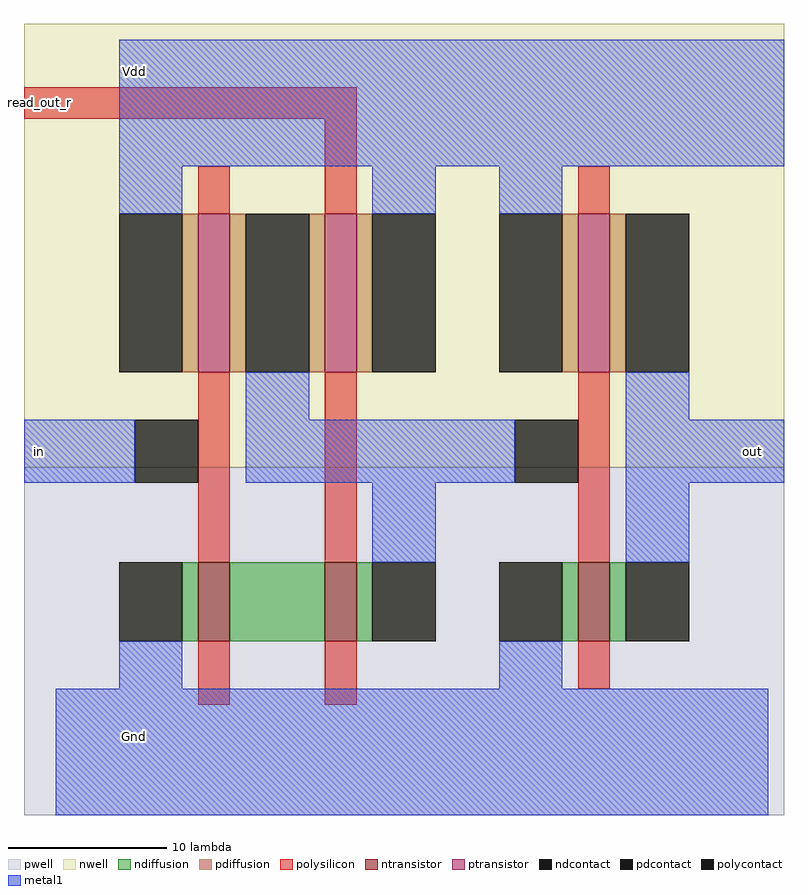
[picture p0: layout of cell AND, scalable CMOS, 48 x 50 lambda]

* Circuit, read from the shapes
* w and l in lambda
.subckt AND Gnd Vdd in out read_out_r
M1 n1 in Gnd VSUBS nfet w=5 l=2
M2 n2 read_out_r n1 VSUBS nfet w=5 l=2
M3 out n2 Gnd VSUBS nfet w=5 l=2
M4 n2 in Vdd n3 pfet w=10 l=2
M5 Vdd read_out_r n2 n3 pfet w=10 l=2
M6 out n2 Vdd n3 pfet w=10 l=2
.ends

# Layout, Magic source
magic
tech scmos
<< nwell >>
rect -15 -9 33 19
<< pwell >>
rect -15 -31 33 -9
<< ntransistor >>
rect -4 -20 -2 -15
rect 4 -20 6 -15
rect 20 -20 22 -15
<< ptransistor >>
rect -4 -3 -2 7
rect 4 -3 6 7
rect 20 -3 22 7
<< ndiffusion >>
rect -5 -20 -4 -15
rect -2 -20 4 -15
rect 6 -20 7 -15
rect 19 -20 20 -15
rect 22 -20 23 -15
<< pdiffusion >>
rect -5 -3 -4 7
rect -2 -3 -1 7
rect 3 -3 4 7
rect 6 -3 7 7
rect 19 -3 20 7
rect 22 -3 23 7
<< ndcontact >>
rect -9 -20 -5 -15
rect 7 -20 11 -15
rect 15 -20 19 -15
rect 23 -20 27 -15
<< pdcontact >>
rect -9 -3 -5 7
rect -1 -3 3 7
rect 7 -3 11 7
rect 15 -3 19 7
rect 23 -3 27 7
<< polysilicon >>
rect -15 13 6 15
rect -4 7 -2 10
rect 4 7 6 13
rect 20 7 22 10
rect -4 -15 -2 -3
rect 4 -15 6 -3
rect 20 -15 22 -3
rect -4 -24 -2 -20
rect 4 -24 6 -20
rect 20 -23 22 -20
<< polycontact >>
rect -8 -10 -4 -6
rect 16 -10 20 -6
<< metal1 >>
rect -9 10 33 18
rect -9 7 -5 10
rect 7 7 11 10
rect 15 7 19 10
rect -1 -6 3 -3
rect 23 -6 27 -3
rect -15 -10 -8 -6
rect -1 -10 16 -6
rect 23 -10 33 -6
rect 7 -15 11 -10
rect 23 -15 27 -10
rect -9 -23 -5 -20
rect 15 -23 19 -20
rect -13 -31 32 -23
<< labels >>
rlabel metal1 31 -8 31 -8 7 out
rlabel metal1 -8 16 -8 16 5 Vdd
rlabel polysilicon -14 14 -14 14 4 read_out_r
rlabel metal1 -14 -8 -14 -8 3 in
rlabel metal1 -8 -26 -8 -26 1 Gnd
<< end >>
